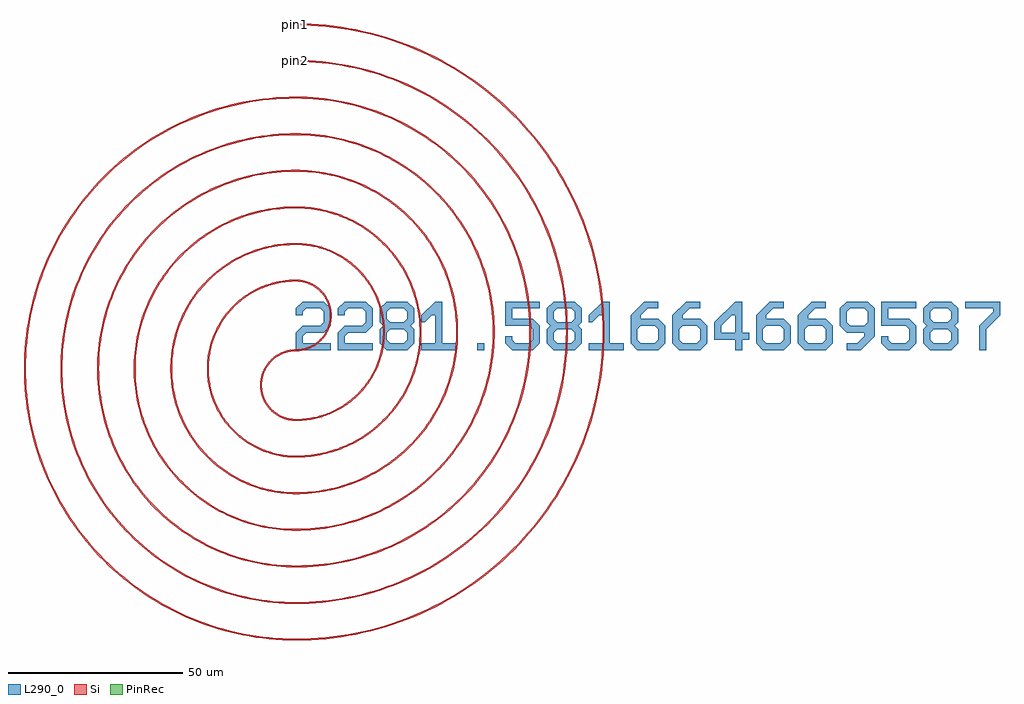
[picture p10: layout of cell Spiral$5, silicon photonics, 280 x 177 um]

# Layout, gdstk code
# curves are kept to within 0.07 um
import gdstk
lib = gdstk.Library(unit=1e-6, precision=1e-09)
def R(c, l, rs):  # rectangles x0, y0, x1, y1
    for r in rs: c.add(gdstk.rectangle(r[:2], r[2:], *l))
def P(c, l, *ps):  # polygons
    for p in ps: c.add(gdstk.Polygon(p, *l))
Si = (1, 0)
PinRec = (1, 10)
L290_0 = (290, 0)

spiral_5 = lib.new_cell('Spiral$5')
P(spiral_5, Si, [(0,-0.25),(0,0.25),(1.194,0.323),(2.369,0.542),(3.509,0.903),(4.384,1.291),(5.808,2.169),(7.061,3.277),(8.237,4.784),(9.097,6.491),(9.563,8.098),(9.75,10),(9.563,11.902),(9.097,13.509),(8.237,15.216),(7.061,16.723),(5.808,17.831),(4.384,18.709),(3.509,19.097),(2.369,19.458),(1.194,19.677),(0,19.75),(0,20.25),(1.005,20.201),(2,20.053),(2.975,19.809),(3.923,19.47),(5.695,18.523),(7.248,17.248),(8.523,15.695),(9.47,13.923),(9.809,12.975),(10.053,12),(10.201,11.005),(10.25,10),(10.201,8.995),(10.053,8),(9.809,7.025),(9.47,6.077),(8.523,4.305),(7.248,2.752),(5.695,1.477),(3.923,0.53),(2.975,0.191),(2,-0.053),(1.005,-0.201)],
  [(0,-20.25),(-1.005,-20.201),(-2,-20.053),(-3.923,-19.47),(-5.695,-18.523),(-7.248,-17.248),(-8.523,-15.695),(-9.47,-13.923),(-10.053,-12),(-10.201,-11.005),(-10.25,-10),(-10.201,-8.995),(-10.001,-7.754),(-9.371,-5.846),(-8.792,-4.73),(-8.233,-3.894),(-7.424,-2.932),(-6.695,-2.239),(-5.052,-1.082),(-4.154,-0.629),(-3.215,-0.267),(-1.504,0.139),(0.956,0.297),(2.136,0.487),(3.509,0.903),(4.806,1.517),(6.185,2.463),(7.537,3.815),(8.599,5.404),(9.258,6.942),(9.563,8.098),(9.724,9.283),(9.747,10.239),(9.644,11.431),(9.458,12.369),(9.097,13.509),(8.599,14.596),(7.971,15.614),(7.224,16.548),(6.548,17.224),(5.013,18.363),(3.951,18.914),(2.6,19.397),(1.194,19.677),(0,19.75),(0,20.25),(1.005,20.201),(2,20.053),(3.923,19.47),(5.695,18.523),(7.248,17.248),(8.523,15.695),(9.47,13.923),(10.053,12),(10.201,11.005),(10.25,10),(10.201,8.995),(10.001,7.754),(9.371,5.846),(8.792,4.73),(8.233,3.894),(7.424,2.932),(6.695,2.239),(5.052,1.082),(4.154,0.629),(3.215,0.267),(1.504,-0.139),(-0.956,-0.297),(-2.136,-0.487),(-3.509,-0.903),(-4.806,-1.517),(-6.185,-2.463),(-7.537,-3.815),(-8.599,-5.404),(-9.258,-6.942),(-9.563,-8.098),(-9.724,-9.283),(-9.747,-10.239),(-9.644,-11.431),(-9.458,-12.369),(-9.097,-13.509),(-8.599,-14.596),(-7.971,-15.614),(-7.224,-16.548),(-6.548,-17.224),(-5.013,-18.363),(-3.951,-18.914),(-2.6,-19.397),(-1.194,-19.677),(0,-19.75)],
  [(0,-20.25),(0,-19.75),(2.45,-19.63),(5.478,-19.143),(7.842,-18.488),(10.131,-17.605),(12.322,-16.502),(14.395,-15.19),(15.86,-14.075),(17.678,-12.428),(19.325,-10.61),(20.787,-8.639),(22.048,-6.535),(23.097,-4.317),(23.924,-2.007),(24.52,0.373),(24.88,2.8),(25,5.25),(24.88,7.7),(24.52,10.127),(23.924,12.507),(23.097,14.817),(22.048,17.035),(20.787,19.139),(19.325,21.11),(17.678,22.928),(15.86,24.575),(14.395,25.69),(12.322,27.002),(10.131,28.105),(7.842,28.988),(5.478,29.643),(2.45,30.13),(0,30.25),(0,30.75),(2.499,30.627),(4.975,30.26),(7.402,29.652),(9.758,28.809),(12.021,27.739),(14.167,26.452),(16.177,24.962),(18.031,23.281),(19.712,21.427),(21.202,19.417),(22.489,17.271),(23.559,15.008),(24.402,12.652),(25.01,10.225),(25.377,7.749),(25.5,5.25),(25.377,2.751),(25.01,0.275),(24.402,-2.152),(23.559,-4.508),(22.489,-6.771),(21.202,-8.917),(19.712,-10.927),(18.031,-12.781),(16.177,-14.462),(14.167,-15.952),(12.021,-17.239),(9.758,-18.309),(7.402,-19.152),(4.975,-19.76),(2.499,-20.127)],
  [(0,-30.75),(-2.499,-30.627),(-4.975,-30.26),(-7.402,-29.652),(-9.758,-28.809),(-12.021,-27.739),(-14.167,-26.452),(-16.177,-24.962),(-18.031,-23.281),(-19.712,-21.427),(-21.202,-19.417),(-22.489,-17.271),(-23.559,-15.008),(-24.402,-12.652),(-25.01,-10.225),(-25.377,-7.749),(-25.5,-5.25),(-25.377,-2.751),(-25.01,-0.275),(-24.402,2.152),(-23.559,4.508),(-22.489,6.771),(-21.202,8.917),(-19.712,10.927),(-18.031,12.781),(-16.177,14.462),(-14.167,15.952),(-12.021,17.239),(-9.758,18.309),(-7.402,19.152),(-4.975,19.76),(-2.499,20.127),(0,20.25),(0,19.75),(-2.45,19.63),(-5.478,19.143),(-7.842,18.488),(-10.131,17.605),(-12.322,16.502),(-14.395,15.19),(-15.86,14.075),(-17.678,12.428),(-19.325,10.61),(-20.787,8.639),(-22.048,6.535),(-23.097,4.317),(-23.924,2.007),(-24.52,-0.373),(-24.88,-2.8),(-25,-5.25),(-24.88,-7.7),(-24.52,-10.127),(-23.924,-12.507),(-23.097,-14.817),(-22.048,-17.035),(-20.787,-19.139),(-19.325,-21.11),(-17.678,-22.928),(-15.86,-24.575),(-14.395,-25.69),(-12.322,-27.002),(-10.131,-28.105),(-7.842,-28.988),(-5.478,-29.643),(-2.45,-30.13),(0,-30.25)],
  [(0,-30.75),(0,-30.25),(2.612,-30.154),(4.346,-29.983),(6.926,-29.568),(8.626,-29.186),(11.96,-28.175),(14.386,-27.204),(16.735,-26.058),(19.723,-24.267),(22.521,-22.192),(25.102,-19.852),(27.442,-17.271),(29.517,-14.473),(31.308,-11.485),(32.798,-8.335),(33.971,-5.055),(34.818,-1.676),(35.329,1.77),(35.5,5.25),(35.329,8.73),(34.818,12.176),(33.971,15.555),(32.798,18.835),(31.308,21.985),(29.517,24.973),(27.442,27.771),(25.102,30.352),(22.521,32.692),(19.723,34.767),(16.735,36.558),(14.386,37.704),(11.96,38.675),(8.626,39.686),(6.926,40.068),(4.346,40.483),(2.612,40.654),(0,40.75),(0,41.25),(3.529,41.077),(7.023,40.558),(10.45,39.7),(13.777,38.51),(16.97,36.999),(20.001,35.183),(22.838,33.078),(25.456,30.706),(27.828,28.088),(29.933,25.251),(31.749,22.22),(33.26,19.027),(34.45,15.7),(35.308,12.273),(35.827,8.779),(36,5.25),(35.827,1.721),(35.308,-1.773),(34.45,-5.2),(33.26,-8.527),(31.749,-11.72),(29.933,-14.751),(27.828,-17.588),(25.456,-20.206),(22.838,-22.578),(20.001,-24.683),(16.97,-26.499),(13.777,-28.01),(10.45,-29.2),(7.023,-30.058),(3.529,-30.577)],
  [(0,-41.25),(-3.529,-41.077),(-7.023,-40.558),(-10.45,-39.7),(-13.777,-38.51),(-16.97,-36.999),(-20.001,-35.183),(-22.838,-33.078),(-25.456,-30.706),(-27.828,-28.088),(-29.933,-25.251),(-31.749,-22.22),(-33.26,-19.027),(-34.45,-15.7),(-35.308,-12.273),(-35.827,-8.779),(-36,-5.25),(-35.827,-1.721),(-35.308,1.773),(-34.45,5.2),(-33.26,8.527),(-31.749,11.72),(-29.933,14.751),(-27.828,17.588),(-25.456,20.206),(-22.838,22.578),(-20.001,24.683),(-16.97,26.499),(-13.777,28.01),(-10.45,29.2),(-7.023,30.058),(-3.529,30.577),(0,30.75),(0,30.25),(-2.612,30.154),(-4.346,29.983),(-6.926,29.568),(-8.626,29.186),(-11.96,28.175),(-14.386,27.204),(-16.735,26.058),(-19.723,24.267),(-22.521,22.192),(-25.102,19.852),(-27.442,17.271),(-29.517,14.473),(-31.308,11.485),(-32.798,8.335),(-33.971,5.055),(-34.818,1.676),(-35.329,-1.77),(-35.5,-5.25),(-35.329,-8.73),(-34.818,-12.176),(-33.971,-15.555),(-32.798,-18.835),(-31.308,-21.985),(-29.517,-24.973),(-27.442,-27.771),(-25.102,-30.352),(-22.521,-32.692),(-19.723,-34.767),(-16.735,-36.558),(-14.386,-37.704),(-11.96,-38.675),(-8.626,-39.686),(-6.926,-40.068),(-4.346,-40.483),(-2.612,-40.654),(0,-40.75)],
  [(0,-41.25),(0,-40.75),(2.257,-40.695),(5.631,-40.404),(7.864,-40.073),(11.177,-39.371),(13.353,-38.769),(15.497,-38.061),(18.641,-36.804),(20.682,-35.838),(22.673,-34.774),(25.556,-32.998),(27.402,-31.698),(29.182,-30.308),(30.892,-28.834),(32.527,-27.277),(34.084,-25.642),(35.558,-23.932),(36.948,-22.152),(38.248,-20.306),(39.456,-18.399),(40.568,-16.434),(41.584,-14.418),(42.498,-12.353),(43.311,-10.247),(44.019,-8.103),(44.621,-5.927),(45.116,-3.724),(45.502,-1.5),(45.778,0.741),(45.945,2.993),(46,5.25),(45.945,7.507),(45.778,9.759),(45.502,12),(45.116,14.224),(44.621,16.427),(44.019,18.603),(43.311,20.747),(42.498,22.853),(41.584,24.918),(40.568,26.934),(39.456,28.899),(38.248,30.806),(36.948,32.652),(35.558,34.432),(34.084,36.142),(32.527,37.777),(30.892,39.334),(29.182,40.808),(27.402,42.198),(25.556,43.498),(22.673,45.274),(20.682,46.338),(18.641,47.304),(15.497,48.561),(13.353,49.269),(11.177,49.871),(7.864,50.573),(5.631,50.904),(2.257,51.195),(0,51.25),(0,51.75),(2.282,51.694),(4.558,51.526),(6.823,51.247),(9.072,50.857),(11.299,50.356),(13.498,49.748),(15.665,49.032),(17.795,48.21),(19.881,47.286),(21.92,46.259),(23.906,45.134),(25.834,43.913),(27.7,42.599),(29.499,41.195),(31.227,39.704),(32.88,38.13),(34.454,36.477),(35.945,34.749),(37.349,32.95),(38.663,31.084),(39.884,29.156),(41.009,27.17),(42.036,25.131),(42.96,23.045),(43.782,20.915),(44.498,18.748),(45.106,16.549),(45.607,14.322),(45.997,12.073),(46.276,9.808),(46.444,7.532),(46.5,5.25),(46.444,2.968),(46.276,0.692),(45.997,-1.573),(45.607,-3.822),(45.106,-6.049),(44.498,-8.248),(43.782,-10.415),(42.96,-12.545),(42.036,-14.631),(41.009,-16.67),(39.884,-18.656),(38.663,-20.584),(37.349,-22.45),(35.945,-24.249),(34.454,-25.977),(32.88,-27.63),(31.227,-29.204),(29.499,-30.695),(27.7,-32.099),(25.834,-33.413),(23.906,-34.634),(21.92,-35.759),(19.881,-36.786),(17.795,-37.71),(15.665,-38.532),(13.498,-39.248),(11.299,-39.856),(9.072,-40.357),(6.823,-40.747),(4.558,-41.026),(2.282,-41.194)],
  [(0,-51.75),(-2.282,-51.694),(-4.558,-51.526),(-6.823,-51.247),(-9.072,-50.857),(-11.299,-50.356),(-13.498,-49.748),(-15.665,-49.032),(-17.795,-48.21),(-19.881,-47.286),(-21.92,-46.259),(-23.906,-45.134),(-25.834,-43.913),(-27.7,-42.599),(-29.499,-41.195),(-31.227,-39.704),(-32.88,-38.13),(-34.454,-36.477),(-35.945,-34.749),(-37.349,-32.95),(-38.663,-31.084),(-39.884,-29.156),(-41.009,-27.17),(-42.036,-25.131),(-42.96,-23.045),(-43.782,-20.915),(-44.498,-18.748),(-45.106,-16.549),(-45.607,-14.322),(-45.997,-12.073),(-46.276,-9.808),(-46.444,-7.532),(-46.5,-5.25),(-46.444,-2.968),(-46.276,-0.692),(-45.997,1.573),(-45.607,3.822),(-45.106,6.049),(-44.498,8.248),(-43.782,10.415),(-42.96,12.545),(-42.036,14.631),(-41.009,16.67),(-39.884,18.656),(-38.663,20.584),(-37.349,22.45),(-35.945,24.249),(-34.454,25.977),(-32.88,27.63),(-31.227,29.204),(-29.499,30.695),(-27.7,32.099),(-25.834,33.413),(-23.906,34.634),(-21.92,35.759),(-19.881,36.786),(-17.795,37.71),(-15.665,38.532),(-13.498,39.248),(-11.299,39.856),(-9.072,40.357),(-6.823,40.747),(-4.558,41.026),(-2.282,41.194),(0,41.25),(0,40.75),(-2.257,40.695),(-5.631,40.404),(-7.864,40.073),(-11.177,39.371),(-13.353,38.769),(-15.497,38.061),(-18.641,36.804),(-20.682,35.838),(-22.673,34.774),(-25.556,32.998),(-27.402,31.698),(-29.182,30.308),(-30.892,28.834),(-32.527,27.277),(-34.084,25.642),(-35.558,23.932),(-36.948,22.152),(-38.248,20.306),(-39.456,18.399),(-40.568,16.434),(-41.584,14.418),(-42.498,12.353),(-43.311,10.247),(-44.019,8.103),(-44.621,5.927),(-45.116,3.724),(-45.502,1.5),(-45.778,-0.741),(-45.945,-2.993),(-46,-5.25),(-45.945,-7.507),(-45.778,-9.759),(-45.502,-12),(-45.116,-14.224),(-44.621,-16.427),(-44.019,-18.603),(-43.311,-20.747),(-42.498,-22.853),(-41.584,-24.918),(-40.568,-26.934),(-39.456,-28.899),(-38.248,-30.806),(-36.948,-32.652),(-35.558,-34.432),(-34.084,-36.142),(-32.527,-37.777),(-30.892,-39.334),(-29.182,-40.808),(-27.402,-42.198),(-25.556,-43.498),(-22.673,-45.274),(-20.682,-46.338),(-18.641,-47.304),(-15.497,-48.561),(-13.353,-49.269),(-11.177,-49.871),(-7.864,-50.573),(-5.631,-50.904),(-2.257,-51.195),(0,-51.25)],
  [(0,-51.75),(0,-51.25),(2.772,-51.182),(5.538,-50.978),(9.659,-50.418),(12.379,-49.877),(16.401,-48.817),(19.034,-47.947),(21.622,-46.949),(24.157,-45.825),(26.634,-44.579),(29.047,-43.212),(31.39,-41.728),(33.657,-40.131),(35.843,-38.425),(37.943,-36.614),(39.952,-34.702),(41.864,-32.693),(43.675,-30.593),(45.381,-28.407),(46.978,-26.14),(48.462,-23.797),(49.829,-21.384),(51.075,-18.907),(52.199,-16.372),(53.197,-13.784),(54.067,-11.151),(54.807,-8.478),(55.414,-5.773),(55.888,-3.04),(56.228,-0.288),(56.432,2.478),(56.5,5.25),(56.432,8.022),(56.228,10.788),(55.888,13.54),(55.414,16.273),(54.807,18.978),(54.067,21.651),(53.197,24.284),(52.199,26.872),(51.075,29.407),(49.829,31.884),(48.462,34.297),(46.978,36.64),(45.381,38.907),(43.675,41.093),(41.864,43.193),(39.952,45.202),(37.943,47.114),(35.843,48.925),(33.657,50.631),(31.39,52.228),(29.047,53.712),(26.634,55.079),(24.157,56.325),(21.622,57.449),(19.034,58.447),(16.401,59.317),(12.379,60.377),(9.659,60.918),(5.538,61.478),(2.772,61.682),(0,61.75),(0,62.25),(2.797,62.181),(5.587,61.976),(8.364,61.633),(11.12,61.155),(13.85,60.542),(16.546,59.796),(19.203,58.918),(21.813,57.911),(24.371,56.777),(26.87,55.52),(29.304,54.141),(31.668,52.644),(33.955,51.033),(36.16,49.312),(38.279,47.484),(40.305,45.555),(42.234,43.529),(44.062,41.41),(45.783,39.205),(47.394,36.918),(48.891,34.554),(50.27,32.12),(51.527,29.621),(52.661,27.063),(53.668,24.453),(54.546,21.796),(55.292,19.1),(55.905,16.37),(56.383,13.614),(56.726,10.837),(56.931,8.047),(57,5.25),(56.931,2.453),(56.726,-0.337),(56.383,-3.114),(55.905,-5.87),(55.292,-8.6),(54.546,-11.296),(53.668,-13.953),(52.661,-16.563),(51.527,-19.121),(50.27,-21.62),(48.891,-24.054),(47.394,-26.418),(45.783,-28.705),(44.062,-30.91),(42.234,-33.029),(40.305,-35.055),(38.279,-36.984),(36.16,-38.812),(33.955,-40.533),(31.668,-42.144),(29.304,-43.641),(26.87,-45.02),(24.371,-46.277),(21.813,-47.411),(19.203,-48.418),(16.546,-49.296),(13.85,-50.042),(11.12,-50.655),(8.364,-51.133),(5.587,-51.476),(2.797,-51.681)],
  [(0,-62.25),(-2.797,-62.181),(-5.587,-61.976),(-8.364,-61.633),(-11.12,-61.155),(-13.85,-60.542),(-16.546,-59.796),(-19.203,-58.918),(-21.813,-57.911),(-24.371,-56.777),(-26.87,-55.52),(-29.304,-54.141),(-31.668,-52.644),(-33.955,-51.033),(-36.16,-49.312),(-38.279,-47.484),(-40.305,-45.555),(-42.234,-43.529),(-44.062,-41.41),(-45.783,-39.205),(-47.394,-36.918),(-48.891,-34.554),(-50.27,-32.12),(-51.527,-29.621),(-52.661,-27.063),(-53.668,-24.453),(-54.546,-21.796),(-55.292,-19.1),(-55.905,-16.37),(-56.383,-13.614),(-56.726,-10.837),(-56.931,-8.047),(-57,-5.25),(-56.931,-2.453),(-56.726,0.337),(-56.383,3.114),(-55.905,5.87),(-55.292,8.6),(-54.546,11.296),(-53.668,13.953),(-52.661,16.563),(-51.527,19.121),(-50.27,21.62),(-48.891,24.054),(-47.394,26.418),(-45.783,28.705),(-44.062,30.91),(-42.234,33.029),(-40.305,35.055),(-38.279,36.984),(-36.16,38.812),(-33.955,40.533),(-31.668,42.144),(-29.304,43.641),(-26.87,45.02),(-24.371,46.277),(-21.813,47.411),(-19.203,48.418),(-16.546,49.296),(-13.85,50.042),(-11.12,50.655),(-8.364,51.133),(-5.587,51.476),(-2.797,51.681),(0,51.75),(0,51.25),(-2.772,51.182),(-5.538,50.978),(-9.659,50.418),(-12.379,49.877),(-16.401,48.817),(-19.034,47.947),(-21.622,46.949),(-24.157,45.825),(-26.634,44.579),(-29.047,43.212),(-31.39,41.728),(-33.657,40.131),(-35.843,38.425),(-37.943,36.614),(-39.952,34.702),(-41.864,32.693),(-43.675,30.593),(-45.381,28.407),(-46.978,26.14),(-48.462,23.797),(-49.829,21.384),(-51.075,18.907),(-52.199,16.372),(-53.197,13.784),(-54.067,11.151),(-54.807,8.478),(-55.414,5.773),(-55.888,3.04),(-56.228,0.288),(-56.432,-2.478),(-56.5,-5.25),(-56.432,-8.022),(-56.228,-10.788),(-55.888,-13.54),(-55.414,-16.273),(-54.807,-18.978),(-54.067,-21.651),(-53.197,-24.284),(-52.199,-26.872),(-51.075,-29.407),(-49.829,-31.884),(-48.462,-34.297),(-46.978,-36.64),(-45.381,-38.907),(-43.675,-41.093),(-41.864,-43.193),(-39.952,-45.202),(-37.943,-47.114),(-35.843,-48.925),(-33.657,-50.631),(-31.39,-52.228),(-29.047,-53.712),(-26.634,-55.079),(-24.157,-56.325),(-21.622,-57.449),(-19.034,-58.447),(-16.401,-59.317),(-12.379,-60.377),(-9.659,-60.918),(-5.538,-61.478),(-2.772,-61.682),(0,-61.75)],
  [(0,-62.25),(0,-61.75),(3.288,-61.669),(8.202,-61.246),(11.454,-60.764),(14.68,-60.122),(19.449,-58.865),(22.572,-57.833),(25.64,-56.65),(28.646,-55.317),(31.584,-53.839),(34.445,-52.218),(37.223,-50.458),(39.912,-48.565),(42.504,-46.542),(44.994,-44.394),(47.376,-42.126),(49.644,-39.744),(51.792,-37.254),(53.815,-34.662),(55.708,-31.973),(57.468,-29.195),(59.089,-26.334),(60.567,-23.396),(61.9,-20.39),(63.083,-17.322),(64.115,-14.199),(64.992,-11.03),(65.713,-7.821),(66.275,-4.581),(66.677,-1.317),(66.919,1.962),(67,5.25),(66.919,8.538),(66.677,11.817),(66.275,15.081),(65.713,18.321),(64.992,21.53),(64.115,24.699),(63.083,27.822),(61.9,30.89),(60.567,33.896),(59.089,36.834),(57.468,39.695),(55.708,42.473),(53.815,45.162),(51.792,47.754),(49.644,50.244),(47.376,52.626),(44.994,54.894),(42.504,57.042),(39.912,59.065),(37.223,60.958),(34.445,62.718),(31.584,64.339),(28.646,65.817),(25.64,67.15),(22.572,68.333),(19.449,69.365),(14.68,70.622),(11.454,71.264),(8.202,71.746),(3.288,72.169),(0,72.25),(0,72.75),(3.312,72.669),(6.616,72.425),(9.904,72.019),(13.169,71.453),(16.401,70.727),(19.594,69.843),(22.74,68.804),(25.831,67.612),(28.86,66.269),(31.819,64.78),(34.702,63.147),(37.501,61.374),(40.21,59.467),(42.822,57.428),(45.33,55.264),(47.73,52.98),(50.014,50.58),(52.178,48.072),(54.217,45.46),(56.124,42.751),(57.897,39.952),(59.53,37.069),(61.019,34.11),(62.362,31.081),(63.554,27.99),(64.593,24.844),(65.477,21.651),(66.203,18.419),(66.769,15.154),(67.175,11.866),(67.419,8.562),(67.5,5.25),(67.419,1.938),(67.175,-1.366),(66.769,-4.654),(66.203,-7.919),(65.477,-11.151),(64.593,-14.344),(63.554,-17.49),(62.362,-20.581),(61.019,-23.61),(59.53,-26.569),(57.897,-29.452),(56.124,-32.251),(54.217,-34.96),(52.178,-37.572),(50.014,-40.08),(47.73,-42.48),(45.33,-44.764),(42.822,-46.928),(40.21,-48.967),(37.501,-50.874),(34.702,-52.647),(31.819,-54.28),(28.86,-55.769),(25.831,-57.112),(22.74,-58.304),(19.594,-59.343),(16.401,-60.227),(13.169,-60.953),(9.904,-61.519),(6.616,-61.925),(3.312,-62.169)],
  [(0,-72.75),(-3.312,-72.669),(-6.616,-72.425),(-9.904,-72.019),(-13.169,-71.453),(-16.401,-70.727),(-19.594,-69.843),(-22.74,-68.804),(-25.831,-67.612),(-28.86,-66.269),(-31.819,-64.78),(-34.702,-63.147),(-37.501,-61.374),(-40.21,-59.467),(-42.822,-57.428),(-45.33,-55.264),(-47.73,-52.98),(-50.014,-50.58),(-52.178,-48.072),(-54.217,-45.46),(-56.124,-42.751),(-57.897,-39.952),(-59.53,-37.069),(-61.019,-34.11),(-62.362,-31.081),(-63.554,-27.99),(-64.593,-24.844),(-65.477,-21.651),(-66.203,-18.419),(-66.769,-15.154),(-67.175,-11.866),(-67.419,-8.562),(-67.5,-5.25),(-67.419,-1.938),(-67.175,1.366),(-66.769,4.654),(-66.203,7.919),(-65.477,11.151),(-64.593,14.344),(-63.554,17.49),(-62.362,20.581),(-61.019,23.61),(-59.53,26.569),(-57.897,29.452),(-56.124,32.251),(-54.217,34.96),(-52.178,37.572),(-50.014,40.08),(-47.73,42.48),(-45.33,44.764),(-42.822,46.928),(-40.21,48.967),(-37.501,50.874),(-34.702,52.647),(-31.819,54.28),(-28.86,55.769),(-25.831,57.112),(-22.74,58.304),(-19.594,59.343),(-16.401,60.227),(-13.169,60.953),(-9.904,61.519),(-6.616,61.925),(-3.312,62.169),(0,62.25),(0,61.75),(-3.288,61.669),(-8.202,61.246),(-11.454,60.764),(-14.68,60.122),(-19.449,58.865),(-22.572,57.833),(-25.64,56.65),(-28.646,55.317),(-31.584,53.839),(-34.445,52.218),(-37.223,50.458),(-39.912,48.565),(-42.504,46.542),(-44.994,44.394),(-47.376,42.126),(-49.644,39.744),(-51.792,37.254),(-53.815,34.662),(-55.708,31.973),(-57.468,29.195),(-59.089,26.334),(-60.567,23.396),(-61.9,20.39),(-63.083,17.322),(-64.115,14.199),(-64.992,11.03),(-65.713,7.821),(-66.275,4.581),(-66.677,1.317),(-66.919,-1.962),(-67,-5.25),(-66.919,-8.538),(-66.677,-11.817),(-66.275,-15.081),(-65.713,-18.321),(-64.992,-21.53),(-64.115,-24.699),(-63.083,-27.822),(-61.9,-30.89),(-60.567,-33.896),(-59.089,-36.834),(-57.468,-39.695),(-55.708,-42.473),(-53.815,-45.162),(-51.792,-47.754),(-49.644,-50.244),(-47.376,-52.626),(-44.994,-54.894),(-42.504,-57.042),(-39.912,-59.065),(-37.223,-60.958),(-34.445,-62.718),(-31.584,-64.339),(-28.646,-65.817),(-25.64,-67.15),(-22.572,-68.333),(-19.449,-69.365),(-14.68,-70.622),(-11.454,-71.264),(-8.202,-71.746),(-3.288,-72.169),(0,-72.25)],
  [(0,-72.75),(0,-72.25),(3.803,-72.157),(7.596,-71.877),(13.25,-71.109),(16.98,-70.367),(22.497,-68.913),(26.109,-67.72),(29.658,-66.351),(33.136,-64.809),(36.533,-63.099),(39.843,-61.224),(43.057,-59.189),(46.167,-56.999),(49.165,-54.658),(52.046,-52.174),(54.801,-49.551),(57.424,-46.796),(59.908,-43.915),(62.249,-40.917),(64.439,-37.807),(66.474,-34.593),(68.349,-31.283),(70.059,-27.886),(71.601,-24.408),(72.97,-20.859),(74.163,-17.247),(75.177,-13.581),(76.011,-9.869),(76.661,-6.122),(77.127,-2.346),(77.407,1.447),(77.5,5.25),(77.407,9.053),(77.127,12.846),(76.661,16.622),(76.011,20.369),(75.177,24.081),(74.163,27.747),(72.97,31.359),(71.601,34.908),(70.059,38.386),(68.349,41.783),(66.474,45.093),(64.439,48.307),(62.249,51.417),(59.908,54.415),(57.424,57.296),(54.801,60.051),(52.046,62.674),(49.165,65.158),(46.167,67.499),(43.057,69.689),(39.843,71.724),(36.533,73.599),(33.136,75.309),(29.658,76.851),(26.109,78.22),(22.497,79.413),(16.98,80.867),(13.25,81.609),(7.596,82.377),(3.803,82.657),(0,82.75),(0,83.25),(3.827,83.156),(7.645,82.874),(11.445,82.406),(15.217,81.751),(18.952,80.912),(22.642,79.891),(26.277,78.69),(29.849,77.313),(33.349,75.761),(36.769,74.04),(40.1,72.153),(43.334,70.105),(46.465,67.9),(49.483,65.545),(52.382,63.044),(55.154,60.404),(57.794,57.632),(60.295,54.733),(62.65,51.715),(64.855,48.584),(66.903,45.35),(68.79,42.019),(70.511,38.599),(72.063,35.099),(73.44,31.527),(74.641,27.892),(75.662,24.202),(76.501,20.467),(77.156,16.695),(77.624,12.895),(77.906,9.077),(78,5.25),(77.906,1.423),(77.624,-2.395),(77.156,-6.195),(76.501,-9.967),(75.662,-13.702),(74.641,-17.392),(73.44,-21.027),(72.063,-24.599),(70.511,-28.099),(68.79,-31.519),(66.903,-34.85),(64.855,-38.084),(62.65,-41.215),(60.295,-44.233),(57.794,-47.132),(55.154,-49.904),(52.382,-52.544),(49.483,-55.045),(46.465,-57.4),(43.334,-59.605),(40.1,-61.653),(36.769,-63.54),(33.349,-65.261),(29.849,-66.813),(26.277,-68.19),(22.642,-69.391),(18.952,-70.412),(15.217,-71.251),(11.445,-71.906),(7.645,-72.374),(3.827,-72.656)],
  [(0,-83.25),(-3.827,-83.156),(-7.645,-82.874),(-11.445,-82.406),(-15.217,-81.751),(-18.952,-80.912),(-22.642,-79.891),(-26.277,-78.69),(-29.849,-77.313),(-33.349,-75.761),(-36.769,-74.04),(-40.1,-72.153),(-43.334,-70.105),(-46.465,-67.9),(-49.483,-65.545),(-52.382,-63.044),(-55.154,-60.404),(-57.794,-57.632),(-60.295,-54.733),(-62.65,-51.715),(-64.855,-48.584),(-66.903,-45.35),(-68.79,-42.019),(-70.511,-38.599),(-72.063,-35.099),(-73.44,-31.527),(-74.641,-27.892),(-75.662,-24.202),(-76.501,-20.467),(-77.156,-16.695),(-77.624,-12.895),(-77.906,-9.077),(-78,-5.25),(-77.906,-1.423),(-77.624,2.395),(-77.156,6.195),(-76.501,9.967),(-75.662,13.702),(-74.641,17.392),(-73.44,21.027),(-72.063,24.599),(-70.511,28.099),(-68.79,31.519),(-66.903,34.85),(-64.855,38.084),(-62.65,41.215),(-60.295,44.233),(-57.794,47.132),(-55.154,49.904),(-52.382,52.544),(-49.483,55.045),(-46.465,57.4),(-43.334,59.605),(-40.1,61.653),(-36.769,63.54),(-33.349,65.261),(-29.849,66.813),(-26.277,68.19),(-22.642,69.391),(-18.952,70.412),(-15.217,71.251),(-11.445,71.906),(-7.645,72.374),(-3.827,72.656),(0,72.75),(0,72.25),(-3.803,72.157),(-7.596,71.877),(-13.25,71.109),(-16.98,70.367),(-22.497,68.913),(-26.109,67.72),(-29.658,66.351),(-33.136,64.809),(-36.533,63.099),(-39.843,61.224),(-43.057,59.189),(-46.167,56.999),(-49.165,54.658),(-52.046,52.174),(-54.801,49.551),(-57.424,46.796),(-59.908,43.915),(-62.249,40.917),(-64.439,37.807),(-66.474,34.593),(-68.349,31.283),(-70.059,27.886),(-71.601,24.408),(-72.97,20.859),(-74.163,17.247),(-75.177,13.581),(-76.011,9.869),(-76.661,6.122),(-77.127,2.346),(-77.407,-1.447),(-77.5,-5.25),(-77.407,-9.053),(-77.127,-12.846),(-76.661,-16.622),(-76.011,-20.369),(-75.177,-24.081),(-74.163,-27.747),(-72.97,-31.359),(-71.601,-34.908),(-70.059,-38.386),(-68.349,-41.783),(-66.474,-45.093),(-64.439,-48.307),(-62.249,-51.417),(-59.908,-54.415),(-57.424,-57.296),(-54.801,-60.051),(-52.046,-62.674),(-49.165,-65.158),(-46.167,-67.499),(-43.057,-69.689),(-39.843,-71.724),(-36.533,-73.599),(-33.136,-75.309),(-29.658,-76.851),(-26.109,-78.22),(-22.497,-79.413),(-16.98,-80.867),(-13.25,-81.609),(-7.596,-82.377),(-3.803,-82.657),(0,-82.75)],
  [(0,-83.25),(0,-82.75),(4.318,-82.644),(8.626,-82.326),(12.912,-81.798),(17.168,-81.059),(19.281,-80.612),(21.382,-80.113),(25.545,-78.961),(29.646,-77.606),(33.676,-76.051),(37.625,-74.301),(41.483,-72.359),(45.241,-70.23),(48.89,-67.919),(52.422,-65.432),(55.827,-62.775),(59.097,-59.954),(62.225,-56.975),(65.204,-53.847),(68.025,-50.577),(70.682,-47.172),(73.169,-43.64),(75.48,-39.991),(77.609,-36.233),(79.551,-32.375),(81.301,-28.426),(82.856,-24.396),(84.211,-20.295),(85.363,-16.132),(86.309,-11.918),(87.048,-7.662),(87.576,-3.376),(87.894,0.932),(88,5.25),(87.894,9.568),(87.576,13.876),(87.048,18.162),(86.309,22.418),(85.363,26.632),(84.211,30.795),(82.856,34.896),(81.301,38.926),(79.551,42.875),(77.609,46.733),(75.48,50.491),(73.169,54.14),(70.682,57.672),(68.025,61.077),(65.204,64.347),(62.225,67.475),(59.097,70.454),(55.827,73.275),(52.422,75.932),(48.89,78.419),(45.241,80.73),(41.483,82.859),(37.625,84.801),(33.676,86.551),(29.646,88.106),(25.545,89.461),(21.382,90.613),(19.281,91.112),(17.168,91.559),(12.912,92.298),(8.626,92.826),(4.318,93.144),(0,93.25),(0,93.75),(4.342,93.643),(8.675,93.324),(12.986,92.792),(17.265,92.049),(21.504,91.098),(25.69,89.939),(29.815,88.577),(33.867,87.013),(37.839,85.253),(41.719,83.3),(45.498,81.159),(49.168,78.835),(52.719,76.334),(56.144,73.661),(59.433,70.824),(62.579,67.829),(65.574,64.683),(68.411,61.394),(71.084,57.969),(73.585,54.418),(75.909,50.748),(78.05,46.969),(80.003,43.089),(81.763,39.117),(83.327,35.065),(84.689,30.94),(85.848,26.754),(86.799,22.515),(87.542,18.236),(88.074,13.925),(88.393,9.592),(88.5,5.25),(88.393,0.908),(88.074,-3.425),(87.542,-7.736),(86.799,-12.015),(85.848,-16.254),(84.689,-20.44),(83.327,-24.565),(81.763,-28.617),(80.003,-32.589),(78.05,-36.469),(75.909,-40.248),(73.585,-43.918),(71.084,-47.469),(68.411,-50.894),(65.574,-54.183),(62.579,-57.329),(59.433,-60.324),(56.144,-63.161),(52.719,-65.834),(49.168,-68.335),(45.498,-70.659),(41.719,-72.8),(37.839,-74.753),(33.867,-76.513),(29.815,-78.077),(25.69,-79.439),(21.504,-80.598),(17.265,-81.549),(12.986,-82.292),(8.675,-82.824),(4.342,-83.143)])
R(spiral_5, L290_0, [(52,0,54,2)])
P(spiral_5, L290_0, [(0,0),(0,5),(2,7),(7,7),(8,8),(8,11),(7,12),(3,12),(2,11),(2,10),(0,10),(0,12),(2,14),(8,14),(10,12),(10,7),(8,5),(3,5),(2,4),(2,2),(10,2),(10,0)],
  [(12,0),(12,5),(14,7),(19,7),(20,8),(20,11),(19,12),(15,12),(14,11),(14,10),(12,10),(12,12),(14,14),(20,14),(22,12),(22,7),(20,5),(15,5),(14,4),(14,2),(22,2),(22,0)],
  [(26,0),(24,2),(24,6),(25,7),(24,8),(24,12),(26,14),(32,14),(34,12),(27,12),(26,11),(26,9),(27,8),(31,8),(32,9),(32,11),(31,12),(34,12),(34,8),(33,7),(34,6),(27,6),(26,5),(26,3),(27,2),(31,2),(32,3),(32,5),(31,6),(34,6),(34,2),(32,0)],
  [(36,0),(36,2),(40,2),(40,10),(39,10),(37,8),(36,8),(36,10),(40,14),(42,14),(42,2),(46,2),(46,0)],
  [(62,0),(60,2),(60,4),(62,4),(62,3),(63,2),(67,2),(68,3),(68,6),(67,7),(60,7),(60,14),(70,14),(70,12),(62,12),(62,9),(68,9),(70,7),(70,2),(68,0)],
  [(74,0),(72,2),(72,6),(73,7),(72,8),(72,12),(74,14),(80,14),(82,12),(75,12),(74,11),(74,9),(75,8),(79,8),(80,9),(80,11),(79,12),(82,12),(82,8),(81,7),(82,6),(75,6),(74,5),(74,3),(75,2),(79,2),(80,3),(80,5),(79,6),(82,6),(82,2),(80,0)],
  [(84,0),(84,2),(88,2),(88,10),(87,10),(85,8),(84,8),(84,10),(88,14),(90,14),(90,2),(94,2),(94,0)],
  [(98,0),(96,2),(96,10),(100,14),(104,14),(104,12),(101,12),(99,10),(99,9),(104,9),(106,7),(99,7),(98,6),(98,3),(99,2),(103,2),(104,3),(104,6),(103,7),(106,7),(106,2),(104,0)],
  [(110,0),(108,2),(108,10),(112,14),(116,14),(116,12),(113,12),(111,10),(111,9),(116,9),(118,7),(111,7),(110,6),(110,3),(111,2),(115,2),(116,3),(116,6),(115,7),(118,7),(118,2),(116,0)],
  [(126,0),(126,3),(120,3),(120,5),(126,5),(126,10),(125,10),(122,7),(122,5),(120,5),(120,8),(126,14),(128,14),(128,5),(130,5),(130,3),(128,3),(128,0)],
  [(134,0),(132,2),(132,10),(136,14),(140,14),(140,12),(137,12),(135,10),(135,9),(140,9),(142,7),(135,7),(134,6),(134,3),(135,2),(139,2),(140,3),(140,6),(139,7),(142,7),(142,2),(140,0)],
  [(146,0),(144,2),(144,10),(148,14),(152,14),(152,12),(149,12),(147,10),(147,9),(152,9),(154,7),(147,7),(146,6),(146,3),(147,2),(151,2),(152,3),(152,6),(151,7),(154,7),(154,2),(152,0)],
  [(158,0),(158,2),(161,2),(163,4),(163,5),(158,5),(156,7),(163,7),(164,8),(164,11),(163,12),(159,12),(158,11),(158,8),(159,7),(156,7),(156,12),(158,14),(164,14),(166,12),(166,4),(162,0)],
  [(170,0),(168,2),(168,4),(170,4),(170,3),(171,2),(175,2),(176,3),(176,6),(175,7),(168,7),(168,14),(178,14),(178,12),(170,12),(170,9),(176,9),(178,7),(178,2),(176,0)],
  [(182,0),(180,2),(180,6),(181,7),(180,8),(180,12),(182,14),(188,14),(190,12),(183,12),(182,11),(182,9),(183,8),(187,8),(188,9),(188,11),(187,12),(190,12),(190,8),(189,7),(190,6),(183,6),(182,5),(182,3),(183,2),(187,2),(188,3),(188,5),(187,6),(190,6),(190,2),(188,0)],
  [(196,0),(196,7),(200,11),(200,12),(192,12),(192,14),(202,14),(202,10),(198,6),(198,0)])
spiral_5.add(gdstk.FlexPath([(0.05,93.5),(-0.05,93.5)], 0.5, ends="flush", simple_path=True, layer=1, datatype=10))  # PinRec
spiral_5.add(gdstk.FlexPath([(0.05,83),(-0.05,83)], 0.5, ends="flush", simple_path=True, layer=1, datatype=10))  # PinRec
spiral_5.add(gdstk.Label('pin1', (0,93.5), layer=1, texttype=10))
spiral_5.add(gdstk.Label('pin2', (0,83), layer=1, texttype=10))

lib.write_gds('Spiral_5.gds')
